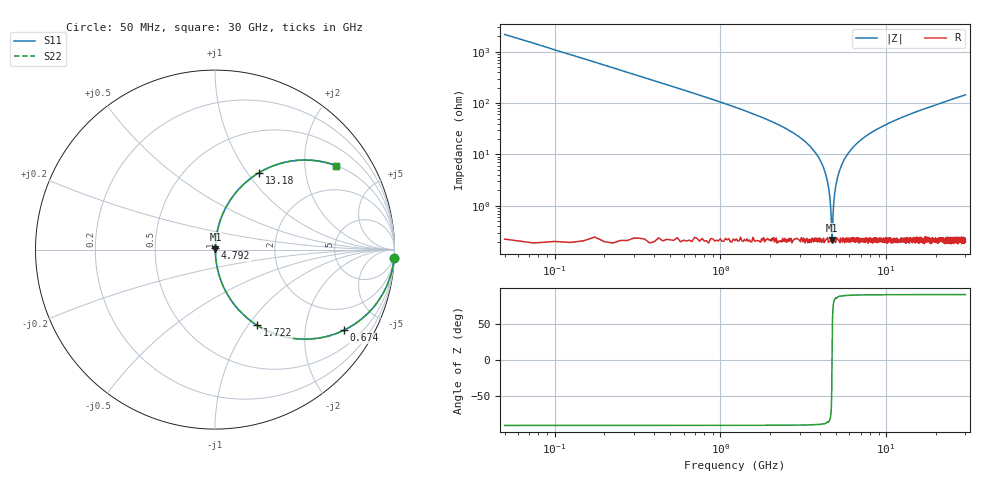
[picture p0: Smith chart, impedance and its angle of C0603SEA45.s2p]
!	AVX Thin Film Operation 	Date: April 2014
!	Description: Accu-P® Series, Thin Film  SMD RF Capacitor
!	Part Number: 06031JA45PBSTR
# MHZ S MA R 50
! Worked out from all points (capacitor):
!   1201 points, 50 MHz to 30 GHz, reference 50 ohm
!   read as one part in series: C = 1.45 pF near 199.8 MHz
!   lowest |Z| = 216 mohm at 4.717 GHz (marker M1)
!   series resonance near 4.711 GHz, so ESL is about 790 pH
!   S11 on the Smith chart (normalised r, x): 50 MHz: 1, -44; 674 MHz: 1.00, -3.19; 1.722 GHz: 1.00, -1.11; 4.792 GHz: 1.00, +0.02; 13.18 GHz: 1.00, +1.14; 30 GHz: 1.00, +2.89
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50  0.999 -2.6  0.046 87.4  0.046 87.4  0.999 -2.6
324.542  0.958 -16.5  0.285 73.4  0.285 73.4  0.958 -16.5
673.958  0.847 -32.1  0.531 57.9  0.531 57.9  0.847 -32.1
1098.25  0.686 -46.5  0.726 43.3  0.726 43.3  0.686 -46.5
1722.208  0.483 -60.9  0.874 28.9  0.874 28.9  0.483 -60.9
3119.875  0.193 -78.2  0.979 11.2  0.979 11.2  0.193 -78.2
3943.5  0.083 -83.8  0.994 4.8  0.994 4.8  0.083 -83.8
4367.792  0.035 -84.5  0.997 2.0  0.997 2.0  0.035 -84.5
4492.583  0.022 -83.2  0.998 1.3  0.998 1.3  0.022 -83.2
4617.375  0.009614 -76.6  0.998 0.5  0.998 0.5  0.009614 -76.6
4717.208  0.002221 14.9  0.998 -0.0  0.998 -0.0  0.002221 14.9
4792.083  0.008183 74.3  0.998 -0.5  0.998 -0.5  0.008183 74.3
5041.667  0.032 84.3  0.997 -1.8  0.997 -1.8  0.032 84.3
5540.833  0.076 84.0  0.995 -4.3  0.995 -4.3  0.076 84.0
6489.25  0.15 80.6  0.987 -8.6  0.987 -8.6  0.15 80.6
7886.917  0.243 75.5  0.968 -14.1  0.968 -14.1  0.243 75.5
10058.29  0.361 68.5  0.93 -21.2  0.93 -21.2  0.361 68.5
13178.08  0.493 60.2  0.868 -29.6  0.868 -29.6  0.493 60.2
15025  0.556 56.1  0.83 -33.8  0.83 -33.8  0.556 56.1
20016.67  0.682 46.9  0.73 -43.0  0.73 -43.0  0.682 46.9
25033.29  0.766 39.9  0.642 -50.0  0.642 -50.0  0.766 39.9
30000  0.822 34.6  0.568 -55.3  0.568 -55.3  0.822 34.6
